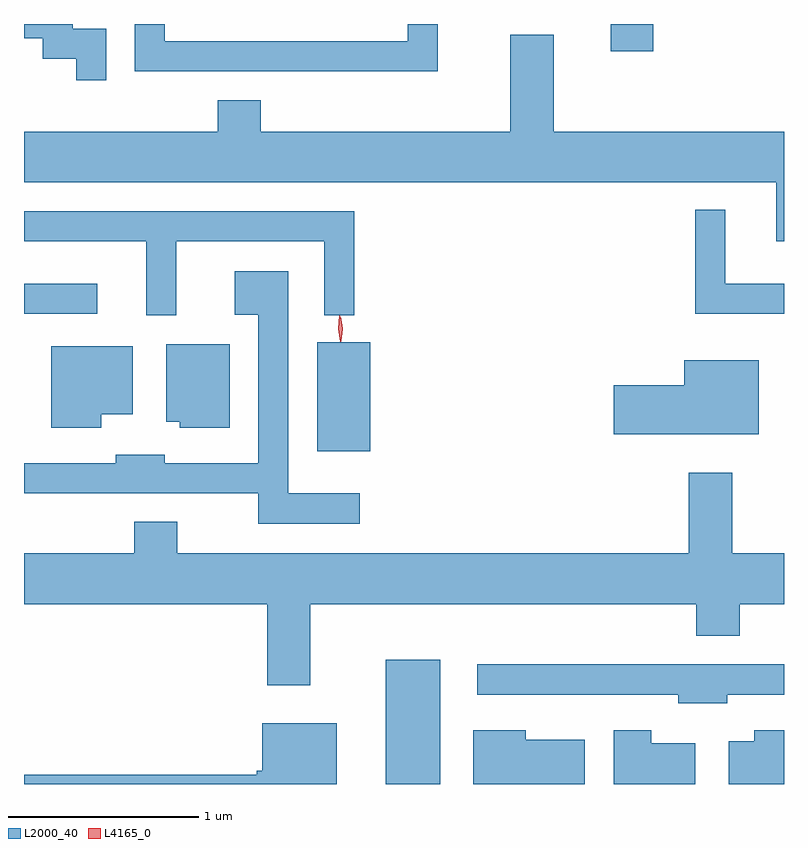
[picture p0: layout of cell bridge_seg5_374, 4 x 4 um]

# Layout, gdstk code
import gdstk
lib = gdstk.Library(unit=1e-6, precision=1e-09)
def R(c, l, rs):  # rectangles x0, y0, x1, y1
    for r in rs: c.add(gdstk.rectangle(r[:2], r[2:], *l))
def P(c, l, *ps):  # polygons
    for p in ps: c.add(gdstk.Polygon(p, *l))
L2000_40 = (2000, 40)
L4165_0 = (4165, 0)

bridge_seg5_374 = lib.new_cell('bridge_seg5_374')
R(bridge_seg5_374, L2000_40, [(547.096,1484.71,547.384,1485.364), (546.736,1486.461,547.014,1487.034), (545.192,1487.186,545.578,1487.344), (548.281,1488.566,548.504,1488.71)])
P(bridge_seg5_374, L2000_40, [(545.624,1488.684),(545.449,1488.684),(545.449,1488.71),(545.192,1488.71),(545.192,1488.636),(545.291,1488.636),(545.291,1488.526),(545.466,1488.526),(545.466,1488.413),(545.624,1488.413)],
  [(547.369,1488.71),(547.211,1488.71),(547.211,1488.619),(545.934,1488.619),(545.934,1488.71),(545.776,1488.71),(545.776,1488.461),(547.369,1488.461)],
  [(546.211,1488.309),(546.211,1488.144),(545.192,1488.144),(545.192,1487.876),(549.151,1487.876),(549.151,1487.566),(549.192,1487.566),(549.192,1488.144),(547.979,1488.144),(547.979,1488.654),(547.751,1488.654),(547.751,1488.144),(546.439,1488.144),(546.439,1488.309)],
  [(549.192,1487.344),(548.884,1487.344),(548.884,1487.733),(548.726,1487.733),(548.726,1487.186),(549.192,1487.186)],
  [(545.994,1487.566),(546.771,1487.566),(546.771,1487.178),(546.929,1487.178),(546.929,1487.724),(545.192,1487.724),(545.192,1487.566),(545.836,1487.566),(545.836,1487.178),(545.994,1487.178)],
  [(546.958,1486.239),(546.584,1486.239),(546.584,1487.409),(546.301,1487.409),(546.301,1487.181),(546.426,1487.181),(546.426,1486.399),(545.934,1486.399),(545.934,1486.444),(545.676,1486.444),(545.676,1486.399),(545.192,1486.399),(545.192,1486.241),(546.426,1486.241),(546.426,1486.081),(546.958,1486.081)],
  [(546.274,1487.024),(545.941,1487.024),(545.941,1486.616),(546.011,1486.616),(546.011,1486.586),(546.274,1486.586)],
  [(545.599,1486.656),(545.764,1486.656),(545.764,1487.014),(545.336,1487.014),(545.336,1486.586),(545.599,1486.586)],
  [(549.059,1486.939),(548.666,1486.939),(548.666,1486.809),(548.296,1486.809),(548.296,1486.551),(549.059,1486.551)],
  [(546.699,1485.656),(548.731,1485.656),(548.731,1485.491),(548.959,1485.491),(548.959,1485.656),(549.192,1485.656),(549.192,1485.924),(548.919,1485.924),(548.919,1486.349),(548.691,1486.349),(548.691,1485.924),(545.999,1485.924),(545.999,1486.089),(545.771,1486.089),(545.771,1485.924),(545.192,1485.924),(545.192,1485.656),(546.471,1485.656),(546.471,1485.231),(546.699,1485.231)],
  [(548.894,1485.181),(549.192,1485.181),(549.192,1485.339),(547.578,1485.339),(547.578,1485.181),(548.636,1485.181),(548.636,1485.136),(548.894,1485.136)],
  [(546.839,1485.029),(546.446,1485.029),(546.446,1484.779),(546.416,1484.779),(546.416,1484.759),(545.192,1484.759),(545.192,1484.71),(546.839,1484.71)],
  [(549.192,1484.994),(549.036,1484.994),(549.036,1484.934),(548.901,1484.934),(548.901,1484.71),(549.192,1484.71)],
  [(548.724,1484.924),(548.494,1484.924),(548.494,1484.994),(548.296,1484.994),(548.296,1484.71),(548.724,1484.71)],
  [(548.144,1484.944),(547.834,1484.944),(547.834,1484.994),(547.556,1484.994),(547.556,1484.71),(548.144,1484.71)])
P(bridge_seg5_374, L4165_0, [(546.857,1487.038),(546.857,1487.038),(546.845,1487.106),(546.852,1487.175),(546.853,1487.176),(546.854,1487.175),(546.865,1487.107),(546.858,1487.038)],
  [(546.86,1487.041),(546.85,1487.106),(546.858,1487.172),(546.858,1487.172),(546.859,1487.172),(546.87,1487.107),(546.861,1487.041),(546.861,1487.041)])

lib.write_gds('bridge_seg5_374.gds')
